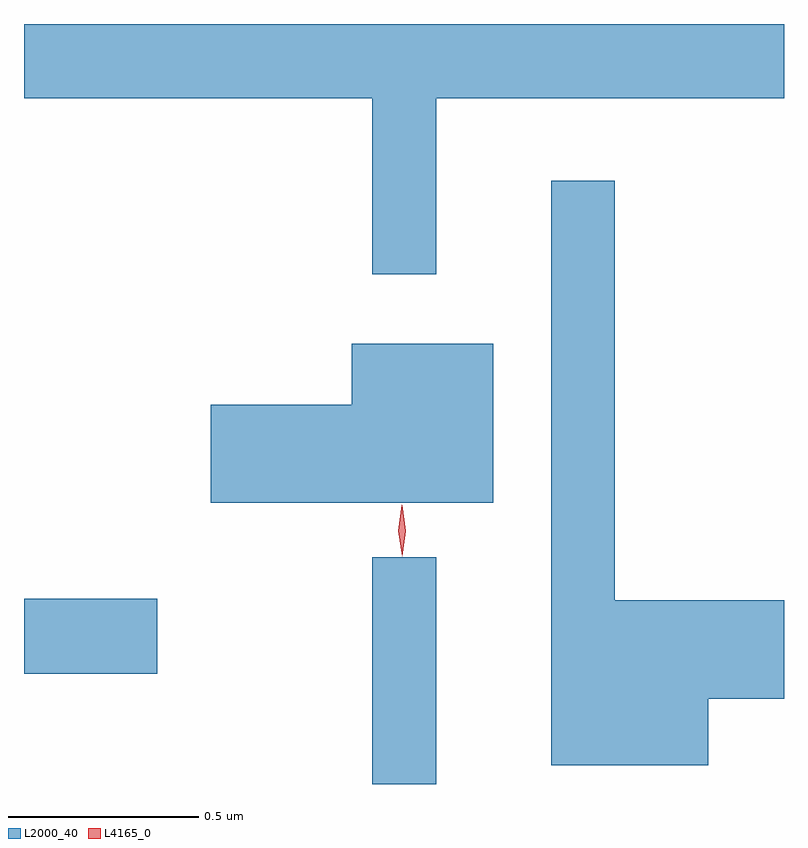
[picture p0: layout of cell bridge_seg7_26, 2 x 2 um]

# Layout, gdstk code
import gdstk
lib = gdstk.Library(unit=1e-6, precision=1e-09)
def R(c, l, rs):  # rectangles x0, y0, x1, y1
    for r in rs: c.add(gdstk.rectangle(r[:2], r[2:], *l))
def P(c, l, *ps):  # polygons
    for p in ps: c.add(gdstk.Polygon(p, *l))
L2000_40 = (2000, 40)
L4165_0 = (4165, 0)

bridge_seg7_26 = lib.new_cell('bridge_seg7_26')
R(bridge_seg7_26, L2000_40, [(1775.641,1768.011,1775.809,1768.608), (1774.724,1768.301,1775.074,1768.499)])
P(bridge_seg7_26, L2000_40, [(1775.809,1769.816),(1776.724,1769.816),(1776.724,1770.011),(1774.724,1770.011),(1774.724,1769.816),(1775.641,1769.816),(1775.641,1769.353),(1775.809,1769.353)],
  [(1776.524,1768.236),(1776.724,1768.236),(1776.724,1768.494),(1776.279,1768.494),(1776.279,1769.598),(1776.111,1769.598),(1776.111,1768.061),(1776.524,1768.061)],
  [(1775.959,1769.169),(1775.586,1769.169),(1775.586,1769.009),(1775.216,1769.009),(1775.216,1768.751),(1775.959,1768.751)])
P(bridge_seg7_26, L4165_0, [(1775.719,1768.61),(1775.719,1768.61),(1775.709,1768.678),(1775.718,1768.745),(1775.718,1768.746),(1775.719,1768.745),(1775.729,1768.678),(1775.72,1768.61)],
  [(1775.719,1768.613),(1775.719,1768.613),(1775.709,1768.676),(1775.718,1768.739),(1775.718,1768.74),(1775.719,1768.739),(1775.729,1768.676),(1775.72,1768.613)])

lib.write_gds('bridge_seg7_26.gds')
